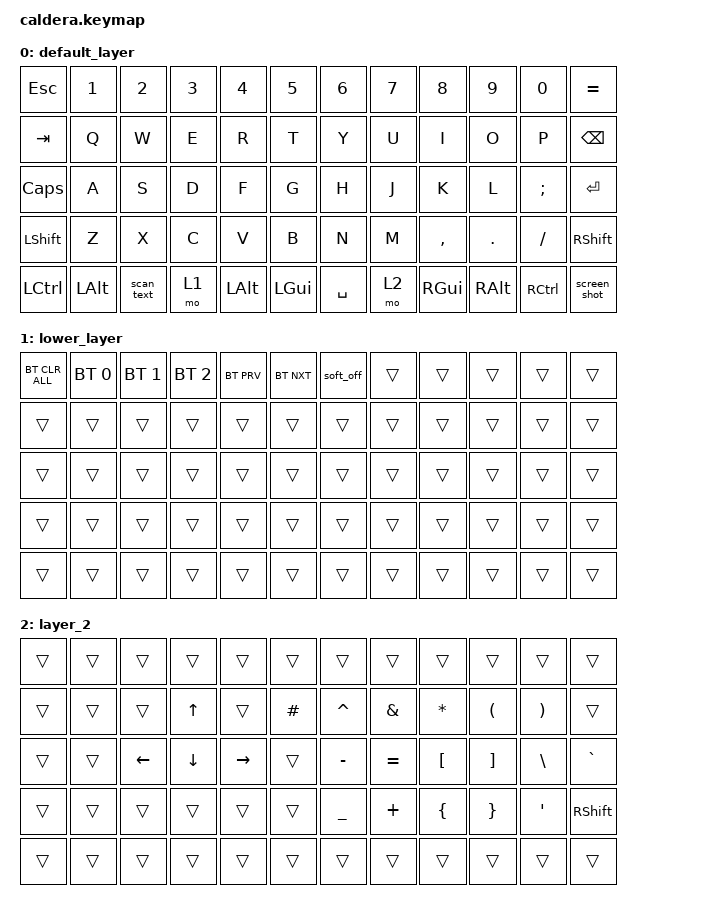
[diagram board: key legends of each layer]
#include <behaviors.dtsi>
#include <dt-bindings/zmk/bt.h>
#include <dt-bindings/zmk/keys.h>

/ {
    macros {
        scan_text: scan_text {
            compatible = "zmk,behavior-macro";
            #binding-cells = <0>;
            bindings =
                <&macro_press>,
                <&kp LEFT_ALT>,
                <&macro_tap>,
                <&kp LS(A)>,
                <&macro_release>,
                <&kp LEFT_ALT>;

            label = "SCAN_TEXT";
        };

        screen_shot: screen_shot {
            compatible = "zmk,behavior-macro";
            #binding-cells = <0>;
            bindings =
                <&macro_press>,
                <&kp LEFT_ALT>,
                <&macro_tap>,
                <&kp LS(S)>,
                <&macro_release>,
                <&kp LEFT_ALT>;

            label = "SCREEN_SHOT";
        };
    };

    keymap {
        compatible = "zmk,keymap";

        default_layer {
            // ---------------------------------------------------------------------------------
            // |   `  |  1  |  2  |  3  |  4  |  5  |     |  6  |  7  |  8  |  9  |  0  | BKSP |
            // |  TAB |  Q  |  W  |  E  |  R  |  T  |     |  Y  |  U  |  I  |  O  |  P  |  \   |
            // | CAPS |  A  |  S  |  D  |  F  |  G  |     |  H  |  J  |  K  |  L  |  ;  |  ENT |
            // | SHFT |  Z  |  X  |  C  |  V  |  B  |     |  N  |  M  |  ,  |  .  |  /  | APOS |
            // | CTRL | ALT | GUI | SPC | SPC | SPC |     | SPC | LOW |LARW |DARW |UARW | RARW |

            bindings = <
&kp ESCAPE  &kp N1    &kp N2      &kp N3  &kp N4    &kp N5      &kp N6     &kp N7  &kp N8         &kp N9         &kp N0             &kp EQUAL
&kp TAB     &kp Q     &kp W       &kp E   &kp R     &kp T       &kp Y      &kp U   &kp I          &kp O          &kp P              &kp BACKSPACE
&kp CAPS    &kp A     &kp S       &kp D   &kp F     &kp G       &kp H      &kp J   &kp K          &kp L          &kp SEMI           &kp RET
&kp LSHFT   &kp Z     &kp X       &kp C   &kp V     &kp B       &kp N      &kp M   &kp COMMA      &kp DOT        &kp FSLH           &kp RSHFT
&kp LCTRL   &kp LALT  &scan_text  &mo 1   &kp LALT  &kp LGUI    &kp SPACE  &mo 2   &kp RIGHT_GUI  &kp RIGHT_ALT  &kp RIGHT_CONTROL  &screen_shot
            >;
        };

        lower_layer {
            bindings = <
&bt BT_CLR_ALL  &bt BT_SEL 0  &bt BT_SEL 1  &bt BT_SEL 2  &bt BT_PRV  &bt BT_NXT    &soft_off  &trans  &trans  &trans  &trans  &trans
&trans          &trans        &trans        &trans        &trans      &trans        &trans     &trans  &trans  &trans  &trans  &trans
&trans          &trans        &trans        &trans        &trans      &trans        &trans     &trans  &trans  &trans  &trans  &trans
&trans          &trans        &trans        &trans        &trans      &trans        &trans     &trans  &trans  &trans  &trans  &trans
&trans          &trans        &trans        &trans        &trans      &trans        &trans     &trans  &trans  &trans  &trans  &trans
            >;
        };

        layer_2 {
            bindings = <
&trans  &trans  &trans          &trans          &trans           &trans      &trans          &trans         &trans            &trans                &trans                 &trans
&trans  &trans  &trans          &kp UP_ARROW    &trans           &kp HASH    &kp CARET       &kp AMPERSAND  &kp ASTERISK      &kp LEFT_PARENTHESIS  &kp RIGHT_PARENTHESIS  &trans
&trans  &trans  &kp LEFT_ARROW  &kp DOWN_ARROW  &kp RIGHT_ARROW  &trans      &kp MINUS       &kp EQUAL      &kp LEFT_BRACKET  &kp RIGHT_BRACKET     &kp BACKSLASH          &kp GRAVE
&trans  &trans  &trans          &trans          &trans           &trans      &kp UNDERSCORE  &kp PLUS       &kp LEFT_BRACE    &kp RIGHT_BRACE       &kp SQT                &kp RIGHT_SHIFT
&trans  &trans  &trans          &trans          &trans           &trans      &trans          &trans         &trans            &trans                &trans                 &trans
            >;
        };
    };
};
